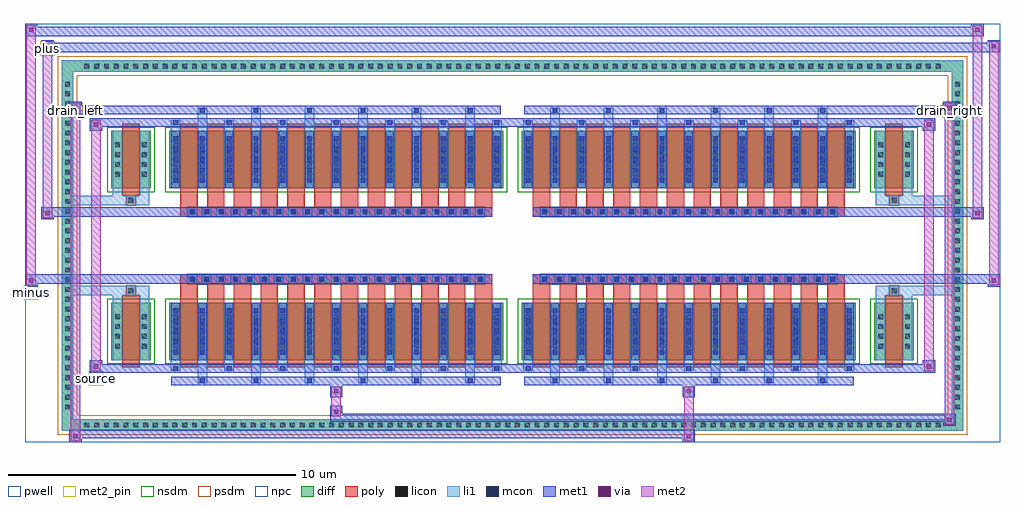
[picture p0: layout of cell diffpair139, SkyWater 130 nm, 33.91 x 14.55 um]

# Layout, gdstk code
import gdstk
lib = gdstk.Library(unit=1e-6, precision=5e-09)
def R(c, l, rs):  # rectangles x0, y0, x1, y1
    for r in rs: c.add(gdstk.rectangle(r[:2], r[2:], *l))
def A(c, l, x, y, w, h, nx, ny, dx, dy):  # array of equal rectangles
    R(c, l, [(x+i*dx, y+j*dy, x+i*dx+w, y+j*dy+h) for i in range(nx) for j in range(ny)])
def P(c, l, *ps):  # polygons
    for p in ps: c.add(gdstk.Polygon(p, *l))
pwell = (64, 44)
diff = (65, 20)
poly = (66, 20)
licon = (66, 44)
li1 = (67, 20)
mcon = (67, 44)
met1 = (68, 20)
via = (68, 44)
met2_pin = (69, 16)
met2 = (69, 20)
nsdm = (93, 44)
psdm = (94, 20)
npc = (95, 20)

diffpair139 = lib.new_cell('diffpair139')
R(diffpair139, pwell, [(-16.94,-6.84,16.94,7.71), (-14.26,-5.03,-0.01,-0.805), (0.01,-5.03,14.26,-0.805), (-14.26,0.805,-0.01,5.03), (0.01,0.805,14.26,5.03)])
A(diffpair139, diff, -14.995, -6.44, 0.41, 0.41, 88, 2, 0.34, 12.47)
A(diffpair139, diff, -15.67, -5.815, 0.41, 0.41, 1, 34, 0, 0.34)
A(diffpair139, diff, 15.26, -5.815, 0.41, 0.41, 1, 34, 0, 0.34)
R(diffpair139, diff, [(-14.995,-6.44,14.995,-6.03), (-15.67,-5.815,-15.26,5.815), (15.26,-5.815,15.67,5.815), (-13.95,-3.985,-12.57,-1.985), (-11.93,-3.985,-0.32,-1.985), (0.32,-3.985,11.93,-1.985), (12.57,-3.985,13.95,-1.985), (-13.95,1.985,-12.57,3.985), (-11.93,1.985,-0.32,3.985), (0.32,1.985,11.93,3.985), (12.57,1.985,13.95,3.985), (-14.995,6.03,14.995,6.44)])
P(diffpair139, diff, [(15.67,6.44),(-15.67,6.44),(-15.67,-6.03),(-15.26,-6.03),(-15.26,6.03),(15.26,6.03),(15.26,-6.03),(-15.26,-6.03),(-15.67,-6.03),(-15.67,-6.44),(15.67,-6.44)])
A(diffpair139, poly, -11.54, -4.235, 0.6, 2.5, 12, 2, 0.93, 5.97)
A(diffpair139, poly, 0.71, -4.235, 0.6, 2.5, 12, 2, 0.93, 5.97)
A(diffpair139, poly, -11.54, -1.735, 0.6, 0.4, 12, 2, 0.93, 3.07)
A(diffpair139, poly, 0.71, -1.735, 0.6, 0.4, 12, 2, 0.93, 3.07)
A(diffpair139, poly, -11.29, -1.335, 0.33, 0.33, 21, 2, 0.5, 2.34)
A(diffpair139, poly, 0.96, -1.335, 0.33, 0.33, 21, 2, 0.5, 2.34)
R(diffpair139, poly, [(-13.56,-4.235,-12.96,-1.735), (12.96,-4.235,13.56,-1.735), (-13.425,-1.735,-13.095,-1.405), (-13.425,-1.735,-13.095,-1.405), (13.095,-1.735,13.425,-1.405), (13.095,-1.735,13.425,-1.405), (-11.54,-1.335,-0.71,-1.005), (0.71,-1.335,11.54,-1.005), (-11.54,1.005,-0.71,1.335), (0.71,1.005,11.54,1.335), (-13.425,1.405,-13.095,1.735), (-13.425,1.405,-13.095,1.735), (13.095,1.405,13.425,1.735), (13.095,1.405,13.425,1.735), (-13.56,1.735,-12.96,4.235), (12.96,1.735,13.56,4.235)])
A(diffpair139, licon, -14.875, -6.32, 0.17, 0.17, 88, 2, 0.34, 12.47)
A(diffpair139, licon, -15.55, -5.695, 0.17, 0.17, 1, 34, 0, 0.34)
A(diffpair139, licon, 15.38, -5.695, 0.17, 0.17, 1, 34, 0, 0.34)
A(diffpair139, licon, -13.81, -3.58, 0.17, 0.17, 1, 4, 0, 0.34)
A(diffpair139, licon, -12.88, -3.58, 0.17, 0.17, 1, 4, 0, 0.34)
A(diffpair139, licon, -11.79, -3.58, 0.17, 0.17, 13, 4, 0.93, 0.34)
A(diffpair139, licon, 0.46, -3.58, 0.17, 0.17, 13, 4, 0.93, 0.34)
A(diffpair139, licon, 12.71, -3.58, 0.17, 0.17, 1, 4, 0, 0.34)
A(diffpair139, licon, 13.64, -3.58, 0.17, 0.17, 1, 4, 0, 0.34)
A(diffpair139, licon, -11.21, -1.255, 0.17, 0.17, 21, 2, 0.5, 2.34)
A(diffpair139, licon, 1.04, -1.255, 0.17, 0.17, 21, 2, 0.5, 2.34)
A(diffpair139, licon, -13.81, 2.39, 0.17, 0.17, 1, 4, 0, 0.34)
A(diffpair139, licon, -12.88, 2.39, 0.17, 0.17, 1, 4, 0, 0.34)
A(diffpair139, licon, -11.79, 2.39, 0.17, 0.17, 13, 4, 0.93, 0.34)
A(diffpair139, licon, 0.46, 2.39, 0.17, 0.17, 13, 4, 0.93, 0.34)
A(diffpair139, licon, 12.71, 2.39, 0.17, 0.17, 1, 4, 0, 0.34)
A(diffpair139, licon, 13.64, 2.39, 0.17, 0.17, 1, 4, 0, 0.34)
R(diffpair139, licon, [(-13.345,-1.655,-13.175,-1.485), (13.175,-1.655,13.345,-1.485), (-13.345,1.485,-13.175,1.655), (13.175,1.485,13.345,1.655)])
A(diffpair139, li1, -14.955, -6.4, 0.33, 0.33, 88, 2, 0.34, 12.47)
A(diffpair139, li1, -15.63, -5.775, 0.33, 0.33, 1, 34, 0, 0.34)
A(diffpair139, li1, 15.3, -5.775, 0.33, 0.33, 1, 34, 0, 0.34)
A(diffpair139, li1, -10.94, -4.79, 0.33, 0.805, 6, 2, 1.86, 8.775)
A(diffpair139, li1, -10.86, -4.79, 0.17, 0.17, 6, 2, 1.86, 9.41)
A(diffpair139, li1, 1.31, -4.79, 0.33, 0.805, 6, 2, 1.86, 8.775)
A(diffpair139, li1, 1.39, -4.79, 0.17, 0.17, 6, 2, 1.86, 9.41)
A(diffpair139, li1, -11.87, -4.36, 0.33, 0.375, 7, 2, 1.86, 8.345)
A(diffpair139, li1, -11.79, -4.36, 0.17, 0.17, 7, 2, 1.86, 8.55)
A(diffpair139, li1, 0.38, -4.36, 0.33, 0.375, 7, 2, 1.86, 8.345)
A(diffpair139, li1, 0.46, -4.36, 0.17, 0.17, 7, 2, 1.86, 8.55)
A(diffpair139, li1, -11.87, -3.985, 0.33, 2, 13, 2, 0.93, 5.97)
A(diffpair139, li1, 0.38, -3.985, 0.33, 2, 13, 2, 0.93, 5.97)
A(diffpair139, li1, -11.79, -3.79, 0.17, 0.17, 13, 5, 0.93, 0.36)
A(diffpair139, li1, -11.79, -3.79, 0.17, 1.61, 13, 2, 0.93, 5.97)
A(diffpair139, li1, 0.46, -3.79, 0.17, 0.17, 13, 5, 0.93, 0.36)
A(diffpair139, li1, 0.46, -3.79, 0.17, 1.61, 13, 2, 0.93, 5.97)
A(diffpair139, li1, -13.89, -3.66, 0.33, 0.33, 1, 4, 0, 0.34)
A(diffpair139, li1, -12.96, -3.66, 0.33, 0.33, 1, 4, 0, 0.34)
A(diffpair139, li1, -11.87, -3.66, 0.33, 0.33, 13, 4, 0.93, 0.34)
A(diffpair139, li1, 0.38, -3.66, 0.33, 0.33, 13, 4, 0.93, 0.34)
A(diffpair139, li1, 12.63, -3.66, 0.33, 0.33, 1, 4, 0, 0.34)
A(diffpair139, li1, 13.56, -3.66, 0.33, 0.33, 1, 4, 0, 0.34)
A(diffpair139, li1, -11.29, -1.335, 0.33, 0.33, 21, 2, 0.5, 2.34)
A(diffpair139, li1, 0.96, -1.335, 0.33, 0.33, 21, 2, 0.5, 2.34)
A(diffpair139, li1, -11.79, 2.18, 0.17, 0.17, 13, 5, 0.93, 0.36)
A(diffpair139, li1, 0.46, 2.18, 0.17, 0.17, 13, 5, 0.93, 0.36)
A(diffpair139, li1, -13.89, 2.31, 0.33, 0.33, 1, 4, 0, 0.34)
A(diffpair139, li1, -12.96, 2.31, 0.33, 0.33, 1, 4, 0, 0.34)
A(diffpair139, li1, -11.87, 2.31, 0.33, 0.33, 13, 4, 0.93, 0.34)
A(diffpair139, li1, 0.38, 2.31, 0.33, 0.33, 13, 4, 0.93, 0.34)
A(diffpair139, li1, 12.63, 2.31, 0.33, 0.33, 1, 4, 0, 0.34)
A(diffpair139, li1, 13.56, 2.31, 0.33, 0.33, 1, 4, 0, 0.34)
R(diffpair139, li1, [(-15.67,-6.44,-15.26,-6.03), (-15.67,-6.44,-15.26,-6.03), (-15.26,-6.44,15.26,-6.03), (15.26,-6.44,15.67,-6.03), (15.26,-6.44,15.67,-6.03), (-15.67,-6.03,-15.26,6.03), (15.26,-6.03,15.67,6.03), (-13.89,-3.985,-13.56,-1.985), (-12.96,-3.985,-12.63,-1.985), (12.63,-3.985,12.96,-1.985), (13.56,-3.985,13.89,-1.985), (-13.89,-1.985,-13.56,-1.405), (-12.96,-1.985,-12.63,-1.405), (12.63,-1.985,12.96,-1.405), (13.56,-1.985,13.89,-1.405), (-15.67,-1.735,-13.425,-1.405), (-13.89,-1.735,-13.425,-1.405), (-13.425,-1.735,-13.095,-1.405), (-13.095,-1.735,-12.63,-1.405), (12.63,-1.735,13.095,-1.405), (13.095,-1.735,13.425,-1.405), (13.095,-1.735,15.67,-1.405), (13.425,-1.735,13.89,-1.405), (-15.67,1.405,-13.425,1.735), (-13.89,1.405,-13.425,1.735), (-13.89,1.405,-13.56,1.985), (-13.425,1.405,-13.095,1.735), (-13.095,1.405,-12.63,1.735), (-12.96,1.405,-12.63,1.985), (12.63,1.405,13.095,1.735), (12.63,1.405,12.96,1.985), (13.095,1.405,13.425,1.735), (13.095,1.405,15.67,1.735), (13.425,1.405,13.89,1.735), (13.56,1.405,13.89,1.985), (-13.89,1.985,-13.56,3.985), (-12.96,1.985,-12.63,3.985), (12.63,1.985,12.96,3.985), (13.56,1.985,13.89,3.985), (-15.67,6.03,-15.26,6.44), (-15.67,6.03,-15.26,6.44), (-15.26,6.03,15.26,6.44), (15.26,6.03,15.67,6.44), (15.26,6.03,15.67,6.44)])
A(diffpair139, mcon, -10.86, -4.79, 0.17, 0.17, 6, 2, 1.86, 9.41)
A(diffpair139, mcon, 1.39, -4.79, 0.17, 0.17, 6, 2, 1.86, 9.41)
A(diffpair139, mcon, -11.79, -4.36, 0.17, 0.17, 7, 2, 1.86, 8.55)
A(diffpair139, mcon, 0.46, -4.36, 0.17, 0.17, 7, 2, 1.86, 8.55)
A(diffpair139, mcon, -11.79, -3.79, 0.17, 0.17, 13, 5, 0.93, 0.36)
A(diffpair139, mcon, 0.46, -3.79, 0.17, 0.17, 13, 5, 0.93, 0.36)
A(diffpair139, mcon, -11.21, -1.255, 0.17, 0.17, 21, 2, 0.5, 2.34)
A(diffpair139, mcon, 1.04, -1.255, 0.17, 0.17, 21, 2, 0.5, 2.34)
A(diffpair139, mcon, -11.79, 2.18, 0.17, 0.17, 13, 5, 0.93, 0.36)
A(diffpair139, mcon, 0.46, 2.18, 0.17, 0.17, 13, 5, 0.93, 0.36)
A(diffpair139, met1, -10.92, -4.85, 0.29, 0.29, 6, 2, 1.86, 9.41)
A(diffpair139, met1, 1.33, -4.85, 0.29, 0.29, 6, 2, 1.86, 9.41)
A(diffpair139, met1, -11.85, -4.42, 0.29, 0.29, 7, 2, 1.86, 8.55)
A(diffpair139, met1, 0.4, -4.42, 0.29, 0.29, 7, 2, 1.86, 8.55)
A(diffpair139, met1, -11.85, -3.985, 0.29, 2, 13, 2, 0.93, 5.97)
A(diffpair139, met1, 0.4, -3.985, 0.29, 2, 13, 2, 0.93, 5.97)
A(diffpair139, met1, -11.85, -3.85, 0.29, 0.29, 13, 5, 0.93, 0.36)
A(diffpair139, met1, 0.4, -3.85, 0.29, 0.29, 13, 5, 0.93, 0.36)
A(diffpair139, met1, -11.27, -1.315, 0.29, 0.29, 21, 2, 0.5, 2.34)
A(diffpair139, met1, 0.98, -1.315, 0.29, 0.29, 21, 2, 0.5, 2.34)
A(diffpair139, met1, -11.85, 2.12, 0.29, 0.29, 13, 5, 0.93, 0.36)
A(diffpair139, met1, 0.4, 2.12, 0.29, 0.29, 13, 5, 0.93, 0.36)
R(diffpair139, met1, [(-15.4,-6.84,-14.97,-6.41), (5.91,-6.84,6.34,-6.41), (-15.4,-6.7,6.34,-6.41), (14.97,-6.27,15.4,-5.84), (-6.34,-6.13,15.4,-5.84), (-6.34,-5.99,-5.91,-5.56), (-6.34,-5.28,-5.91,-4.85), (5.91,-5.28,6.34,-4.85), (-11.85,-4.85,-0.4,-4.56), (0.4,-4.85,11.85,-4.56), (-14.69,-4.42,-14.26,-3.99), (-14.69,-4.42,-11.85,-4.13), (-11.85,-4.42,-0.4,-4.13), (-0.4,-4.42,0.4,-4.13), (0.4,-4.42,11.85,-4.13), (11.85,-4.42,14.69,-4.13), (14.26,-4.42,14.69,-3.99), (-16.94,-1.435,-16.51,-1.005), (16.51,-1.435,16.94,-1.005), (-16.94,-1.335,-0.71,-1.005), (-11.54,-1.335,-0.71,-1.005), (0.71,-1.335,11.54,-1.005), (0.71,-1.335,16.94,-1.005), (-16.37,0.905,-15.94,1.335), (15.94,0.905,16.37,1.335), (-16.37,1.005,-11.54,1.335), (-11.54,1.005,-0.71,1.335), (0.71,1.005,11.54,1.335), (11.54,1.005,16.37,1.335), (-14.69,3.99,-14.26,4.42), (14.26,3.99,14.69,4.42), (-14.69,4.13,-11.85,4.42), (-11.85,4.13,-0.4,4.42), (-0.4,4.13,0.4,4.42), (0.4,4.13,11.85,4.42), (11.85,4.13,14.69,4.42), (-15.4,4.56,-14.97,4.99), (-15.4,4.56,-11.85,4.85), (-11.85,4.56,-0.4,4.85), (0.4,4.56,11.85,4.85), (11.85,4.56,15.4,4.85), (14.97,4.56,15.4,4.99), (-16.37,6.71,-15.94,7.14), (-16.37,6.71,-14.26,7.04), (-14.26,6.71,14.26,7.04), (14.26,6.71,16.94,7.04), (16.51,6.71,16.94,7.14), (-16.94,7.28,-16.51,7.71), (-16.94,7.28,-14.26,7.61), (-14.26,7.28,14.26,7.61), (14.26,7.28,16.37,7.61), (15.94,7.28,16.37,7.71)])
R(diffpair139, via, [(-15.26,-6.7,-15.11,-6.55), (6.05,-6.7,6.2,-6.55), (15.11,-6.13,15.26,-5.98), (-6.2,-5.85,-6.05,-5.7), (-6.2,-5.14,-6.05,-4.99), (6.05,-5.14,6.2,-4.99), (-14.55,-4.28,-14.4,-4.13), (14.4,-4.28,14.55,-4.13), (-16.8,-1.295,-16.65,-1.145), (16.65,-1.295,16.8,-1.145), (-16.23,1.045,-16.08,1.195), (16.08,1.045,16.23,1.195), (-14.55,4.13,-14.4,4.28), (14.4,4.13,14.55,4.28), (-15.26,4.7,-15.11,4.85), (15.11,4.7,15.26,4.85), (-16.23,6.85,-16.08,7), (16.65,6.85,16.8,7), (-16.8,7.42,-16.65,7.57), (16.08,7.42,16.23,7.57)])
R(diffpair139, met2_pin, [(-14.725,-4.87,-14.225,-4.37), (-16.975,-1.885,-16.475,-1.385), (-15.435,4.44,-14.935,4.94), (14.935,4.44,15.435,4.94), (-16.405,6.59,-15.905,7.09)])
R(diffpair139, met2, [(-15.35,-6.79,-15.02,-6.46), (-15.35,-6.79,-15.02,4.94), (5.96,-6.79,6.29,-6.46), (5.96,-6.46,6.29,-5.23), (15.02,-6.22,15.35,-5.89), (15.02,-6.22,15.35,4.94), (-6.29,-5.94,-5.96,-5.61), (-6.29,-5.61,-5.96,-5.23), (-6.29,-5.23,-5.96,-4.9), (5.96,-5.23,6.29,-4.9), (-14.64,-4.37,-14.31,-4.04), (-14.64,-4.37,-14.31,4.37), (14.31,-4.37,14.64,-4.04), (14.31,-4.37,14.64,4.37), (-16.89,-1.385,-16.56,-1.055), (-16.89,-1.385,-16.56,7.66), (16.56,-1.385,16.89,-1.055), (16.56,-1.385,16.89,7.09), (-16.32,0.955,-15.99,1.285), (-16.32,0.955,-15.99,7.09), (15.99,0.955,16.32,1.285), (15.99,0.955,16.32,7.66), (-14.64,4.04,-14.31,4.37), (14.31,4.04,14.64,4.37), (-15.35,4.61,-15.02,4.94), (15.02,4.61,15.35,4.94), (-16.32,6.76,-15.99,7.09), (16.56,6.76,16.89,7.09), (-16.89,7.33,-16.56,7.66), (15.99,7.33,16.32,7.66)])
P(diffpair139, met2, [(16.89,-1.385),(16.89,-1.385),(16.89,-1.055),(16.89,-1.055)],
  [(16.89,6.76),(16.89,6.76),(16.89,7.09),(16.89,7.09)],
  [(-16.56,-1.385),(-16.56,-1.385),(-16.56,-1.055),(-16.56,-1.055)],
  [(-16.56,7.33),(-16.56,7.33),(-16.56,7.66),(-16.56,7.66)],
  [(16.32,0.955),(16.32,0.955),(16.32,1.285),(16.32,1.285)],
  [(16.32,7.33),(16.32,7.33),(16.32,7.66),(16.32,7.66)],
  [(-15.99,0.955),(-15.99,0.955),(-15.99,1.285),(-15.99,1.285)],
  [(-15.99,6.76),(-15.99,6.76),(-15.99,7.09),(-15.99,7.09)],
  [(-15.02,-6.79),(-15.02,-6.79),(-15.02,-6.46),(-15.02,-6.46)],
  [(-15.02,4.61),(-15.02,4.61),(-15.02,4.94),(-15.02,4.94)],
  [(15.35,-6.22),(15.35,-6.22),(15.35,-5.89),(15.35,-5.89)],
  [(15.35,4.61),(15.35,4.61),(15.35,4.94),(15.35,4.94)],
  [(-14.31,-4.37),(-14.31,-4.37),(-14.31,-4.04),(-14.31,-4.04)],
  [(-14.31,4.04),(-14.31,4.04),(-14.31,4.37),(-14.31,4.37)],
  [(14.64,-4.37),(14.64,-4.37),(14.64,-4.04),(14.64,-4.04)],
  [(14.64,4.04),(14.64,4.04),(14.64,4.37),(14.64,4.37)])
R(diffpair139, nsdm, [(-14.08,-4.115,-12.44,-1.855), (-12.06,-4.115,-0.19,-1.855), (0.19,-4.115,12.06,-1.855), (12.44,-4.115,14.08,-1.855), (-14.08,1.855,-12.44,4.115), (-12.06,1.855,-0.19,4.115), (0.19,1.855,12.06,4.115), (12.44,1.855,14.08,4.115)])
P(diffpair139, psdm, [(15.8,6.57),(-15.8,6.57),(-15.8,-5.9),(-15.13,-5.9),(-15.13,5.9),(15.13,5.9),(15.13,-5.9),(-15.13,-5.9),(-15.8,-5.9),(-15.8,-6.57),(15.8,-6.57)])
A(diffpair139, npc, -11.31, -1.355, 0.37, 0.37, 21, 2, 0.5, 2.34)
A(diffpair139, npc, 0.94, -1.355, 0.37, 0.37, 21, 2, 0.5, 2.34)
R(diffpair139, npc, [(-13.445,-1.755,-13.075,-1.385), (13.075,-1.755,13.445,-1.385), (-11.31,-1.355,-10.44,-0.985), (-11.31,-1.355,-10.44,-0.985), (-10.81,-1.355,-9.94,-0.985), (-10.81,-1.355,-9.94,-0.985), (-10.31,-1.355,-9.44,-0.985), (-10.31,-1.355,-9.44,-0.985), (-9.81,-1.355,-8.94,-0.985), (-9.81,-1.355,-8.94,-0.985), (-9.31,-1.355,-8.44,-0.985), (-9.31,-1.355,-8.44,-0.985), (-8.81,-1.355,-7.94,-0.985), (-8.81,-1.355,-7.94,-0.985), (-8.31,-1.355,-7.44,-0.985), (-8.31,-1.355,-7.44,-0.985), (-7.81,-1.355,-6.94,-0.985), (-7.81,-1.355,-6.94,-0.985), (-7.31,-1.355,-6.44,-0.985), (-7.31,-1.355,-6.44,-0.985), (-6.81,-1.355,-5.94,-0.985), (-6.81,-1.355,-5.94,-0.985), (-6.31,-1.355,-5.44,-0.985), (-6.31,-1.355,-5.44,-0.985), (-5.81,-1.355,-4.94,-0.985), (-5.81,-1.355,-4.94,-0.985), (-5.31,-1.355,-4.44,-0.985), (-5.31,-1.355,-4.44,-0.985), (-4.81,-1.355,-3.94,-0.985), (-4.81,-1.355,-3.94,-0.985), (-4.31,-1.355,-3.44,-0.985), (-4.31,-1.355,-3.44,-0.985), (-3.81,-1.355,-2.94,-0.985), (-3.81,-1.355,-2.94,-0.985), (-3.31,-1.355,-2.44,-0.985), (-3.31,-1.355,-2.44,-0.985), (-2.81,-1.355,-1.94,-0.985), (-2.81,-1.355,-1.94,-0.985), (-2.31,-1.355,-1.44,-0.985), (-2.31,-1.355,-1.44,-0.985), (-1.81,-1.355,-0.94,-0.985), (-1.81,-1.355,-0.94,-0.985), (0.94,-1.355,1.81,-0.985), (0.94,-1.355,1.81,-0.985), (1.44,-1.355,2.31,-0.985), (1.44,-1.355,2.31,-0.985), (1.94,-1.355,2.81,-0.985), (1.94,-1.355,2.81,-0.985), (2.44,-1.355,3.31,-0.985), (2.44,-1.355,3.31,-0.985), (2.94,-1.355,3.81,-0.985), (2.94,-1.355,3.81,-0.985), (3.44,-1.355,4.31,-0.985), (3.44,-1.355,4.31,-0.985), (3.94,-1.355,4.81,-0.985), (3.94,-1.355,4.81,-0.985), (4.44,-1.355,5.31,-0.985), (4.44,-1.355,5.31,-0.985), (4.94,-1.355,5.81,-0.985), (4.94,-1.355,5.81,-0.985), (5.44,-1.355,6.31,-0.985), (5.44,-1.355,6.31,-0.985), (5.94,-1.355,6.81,-0.985), (5.94,-1.355,6.81,-0.985), (6.44,-1.355,7.31,-0.985), (6.44,-1.355,7.31,-0.985), (6.94,-1.355,7.81,-0.985), (6.94,-1.355,7.81,-0.985), (7.44,-1.355,8.31,-0.985), (7.44,-1.355,8.31,-0.985), (7.94,-1.355,8.81,-0.985), (7.94,-1.355,8.81,-0.985), (8.44,-1.355,9.31,-0.985), (8.44,-1.355,9.31,-0.985), (8.94,-1.355,9.81,-0.985), (8.94,-1.355,9.81,-0.985), (9.44,-1.355,10.31,-0.985), (9.44,-1.355,10.31,-0.985), (9.94,-1.355,10.81,-0.985), (9.94,-1.355,10.81,-0.985), (10.44,-1.355,11.31,-0.985), (10.44,-1.355,11.31,-0.985), (-11.31,0.985,-10.44,1.355), (-11.31,0.985,-10.44,1.355), (-10.81,0.985,-9.94,1.355), (-10.81,0.985,-9.94,1.355), (-10.31,0.985,-9.44,1.355), (-10.31,0.985,-9.44,1.355), (-9.81,0.985,-8.94,1.355), (-9.81,0.985,-8.94,1.355), (-9.31,0.985,-8.44,1.355), (-9.31,0.985,-8.44,1.355), (-8.81,0.985,-7.94,1.355), (-8.81,0.985,-7.94,1.355), (-8.31,0.985,-7.44,1.355), (-8.31,0.985,-7.44,1.355), (-7.81,0.985,-6.94,1.355), (-7.81,0.985,-6.94,1.355), (-7.31,0.985,-6.44,1.355), (-7.31,0.985,-6.44,1.355), (-6.81,0.985,-5.94,1.355), (-6.81,0.985,-5.94,1.355), (-6.31,0.985,-5.44,1.355), (-6.31,0.985,-5.44,1.355), (-5.81,0.985,-4.94,1.355), (-5.81,0.985,-4.94,1.355), (-5.31,0.985,-4.44,1.355), (-5.31,0.985,-4.44,1.355), (-4.81,0.985,-3.94,1.355), (-4.81,0.985,-3.94,1.355), (-4.31,0.985,-3.44,1.355), (-4.31,0.985,-3.44,1.355), (-3.81,0.985,-2.94,1.355), (-3.81,0.985,-2.94,1.355), (-3.31,0.985,-2.44,1.355), (-3.31,0.985,-2.44,1.355), (-2.81,0.985,-1.94,1.355), (-2.81,0.985,-1.94,1.355), (-2.31,0.985,-1.44,1.355), (-2.31,0.985,-1.44,1.355), (-1.81,0.985,-0.94,1.355), (-1.81,0.985,-0.94,1.355), (0.94,0.985,1.81,1.355), (0.94,0.985,1.81,1.355), (1.44,0.985,2.31,1.355), (1.44,0.985,2.31,1.355), (1.94,0.985,2.81,1.355), (1.94,0.985,2.81,1.355), (2.44,0.985,3.31,1.355), (2.44,0.985,3.31,1.355), (2.94,0.985,3.81,1.355), (2.94,0.985,3.81,1.355), (3.44,0.985,4.31,1.355), (3.44,0.985,4.31,1.355), (3.94,0.985,4.81,1.355), (3.94,0.985,4.81,1.355), (4.44,0.985,5.31,1.355), (4.44,0.985,5.31,1.355), (4.94,0.985,5.81,1.355), (4.94,0.985,5.81,1.355), (5.44,0.985,6.31,1.355), (5.44,0.985,6.31,1.355), (5.94,0.985,6.81,1.355), (5.94,0.985,6.81,1.355), (6.44,0.985,7.31,1.355), (6.44,0.985,7.31,1.355), (6.94,0.985,7.81,1.355), (6.94,0.985,7.81,1.355), (7.44,0.985,8.31,1.355), (7.44,0.985,8.31,1.355), (7.94,0.985,8.81,1.355), (7.94,0.985,8.81,1.355), (8.44,0.985,9.31,1.355), (8.44,0.985,9.31,1.355), (8.94,0.985,9.81,1.355), (8.94,0.985,9.81,1.355), (9.44,0.985,10.31,1.355), (9.44,0.985,10.31,1.355), (9.94,0.985,10.81,1.355), (9.94,0.985,10.81,1.355), (10.44,0.985,11.31,1.355), (10.44,0.985,11.31,1.355), (-13.445,1.385,-13.075,1.755), (13.075,1.385,13.445,1.755)])
diffpair139.add(gdstk.Label('minus', (-16.725,-1.635), layer=69, texttype=5))
diffpair139.add(gdstk.Label('drain_right', (15.185,4.69), layer=69, texttype=5))
diffpair139.add(gdstk.Label('drain_left', (-15.185,4.69), layer=69, texttype=5))
diffpair139.add(gdstk.Label('source', (-14.475,-4.62), layer=69, texttype=5))
diffpair139.add(gdstk.Label('plus', (-16.155,6.84), layer=69, texttype=5))

lib.write_gds('diffpair139.gds')
